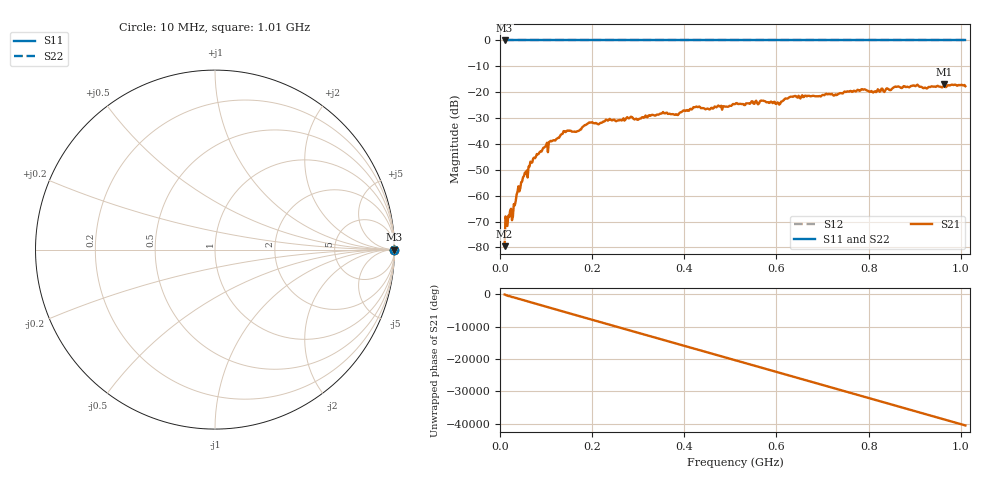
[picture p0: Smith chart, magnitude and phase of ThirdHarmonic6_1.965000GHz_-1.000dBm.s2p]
! 8/16/2025 11:38:54 PM
! C:\ANRITSUVNA\TEMP\TEMP.S2P
! CHANNEL.1
! TR.MEASUREMENT
! RAW.DATA
! RF.CORRECTION.OFF
! AVERAGING.OFF
! IF.BANDWIDTH: 5KHZ
! SWEEPTYPE:  FREQ.SWEEP(Linear)
! Reference Plane Port Info
! PORT:  PORT1  PORT2
! DISTANCE:  0  m  0  m
! TIME:  0  s  0  s
! PHASE.OFFSET:  0  deg.  0  deg.
! LOSS:  0  dB  0  dB
! REF.LOSS:  0  dB  0  dB
! REF.FREQ:  0  Hz  0  Hz
! Power Info
! POWER:  -20  dBm  -20  dBm
! EFF.POWER:  -20  dBm  -20  dBm
! SOURCE.ATTEN:  0  dB  0  dB
! TEST.ATTEN:  0  dB  0  dB
# GHZ S RI R 50.0
! FREQ.GHZ  S11RE  S11IM  S21RE  S21IM  S12RE  S12IM  S22RE  S22IM
!; PortSelection: Port_12
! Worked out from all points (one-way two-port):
!   501 points, 10 MHz to 1.01 GHz, reference 50 ohm
!   highest |S21| = -17.01 dB at 964 MHz (marker M1); lowest = -79.5 dB at 10 MHz (marker M2)
!   lowest |S11| = 0.0 dB at 10 MHz (marker M3)
!   |S11| at or under -10 dB: nowhere
!   |S22| runs from 0.0 to 0.0 dB; largest |S21 - S12| = 1.1
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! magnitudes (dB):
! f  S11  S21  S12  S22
! 10 MHz  0.0  -79.5  0.0  0.0
! 16 MHz  0.0  -71.7  0.0  0.0
! 30 MHz  0.0  -63.3  0.0  0.0
! 36 MHz  0.0  -59.6  0.0  0.0
! 50 MHz  0.0  -52.9  0.0  0.0
! 70 MHz  0.0  -47.2  0.0  0.0
! 98 MHz  0.0  -41.0  0.0  0.0
! 136 MHz  0.0  -36.1  0.0  0.0
! 178 MHz  0.0  -33.6  0.0  0.0
! 196 MHz  0.0  -31.7  0.0  0.0
! 344 MHz  0.0  -28.7  0.0  0.0
! 382 MHz  0.0  -28.5  0.0  0.0
! 424 MHz  0.0  -25.8  0.0  0.0
! 452 MHz  0.0  -26.4  0.0  0.0
! 510 MHz  0.0  -24.6  0.0  0.0
! 570 MHz  0.0  -23.3  0.0  0.0
! 604 MHz  0.0  -24.1  0.0  0.0
! 634 MHz  0.0  -21.7  0.0  0.0
! 678 MHz  0.0  -21.4  0.0  0.0
! 844 MHz  0.0  -18.9  0.0  0.0
! 964 MHz  0.0  -17.0  0.0  0.0
! 1.01 GHz  0.0  -17.7  0.0  0.0
